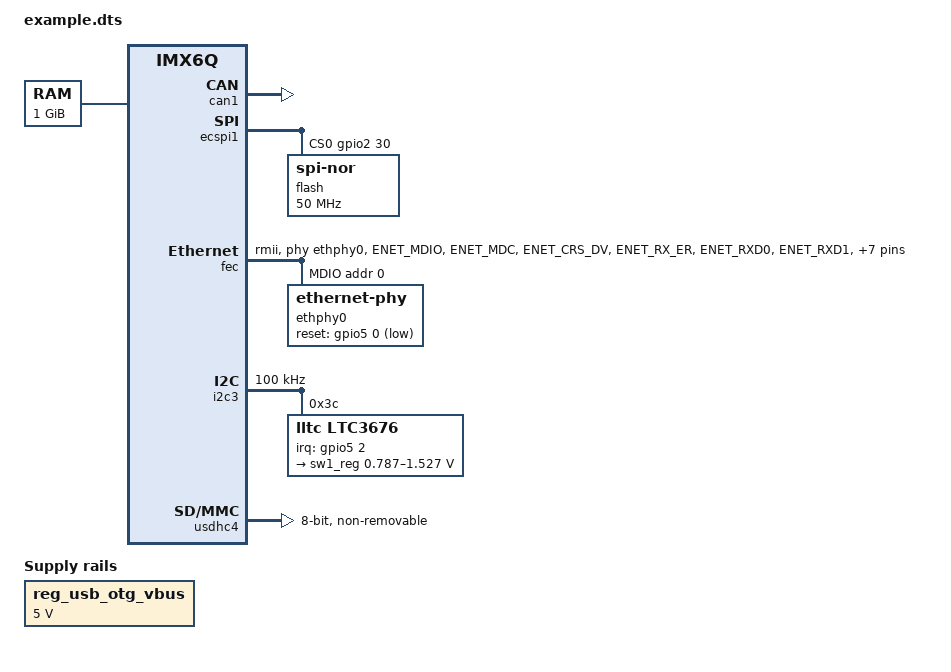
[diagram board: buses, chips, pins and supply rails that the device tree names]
// Devicetree (https://www.devicetree.org/) example file,
// Adapted from: https://github.com/torvalds/linux/blob/575966e080270b7574175da35f7f7dd5ecd89ff4/arch/arm/boot/dts/imx6q-dhcom-som.dtsi

// SPDX-License-Identifier: (GPL-2.0+)
/*
 * Copyright (C) 2015 DH electronics GmbH
 * Copyright (C) 2018 Marek Vasut <marex@denx.de>
 */

/dts-v1/;

#include "imx6q.dtsi"
#include <dt-bindings/pwm/pwm.h>
/include/ "tps65217.dtsi"

/ {
	aliases {
		mmc0 = &usdhc2;
		mmc1 = &usdhc3;
		mmc2 = &usdhc4;
		mmc3 = &usdhc1;
	};

	memory@10000000 {
		device_type = "memory";
		reg = <0x10000000 0x40000000>;
	};

        /delete-property/ uart;

	reg_usb_otg_vbus: regulator-usb-otg-vbus {
		compatible = "regulator-fixed";
		regulator-name = "usb_otg_vbus";
		regulator-min-microvolt = <5000000>;
		regulator-max-microvolt = <5000000>;
	};
};

&can1 {
	pinctrl-names = "default";
	pinctrl-0 = <&pinctrl_flexcan1>;
	status = "okay";
};

&ecspi1 {
	cs-gpios = <&gpio2 30 GPIO_ACTIVE_HIGH>, <&gpio4 11 GPIO_ACTIVE_HIGH>;
	pinctrl-names = "default";
	pinctrl-0 = <&pinctrl_ecspi1>;
	status = "okay";

	flash@0 {	/* S25FL116K */
		#address-cells = <1>;
		#size-cells = <1>;
		compatible = "jedec,spi-nor";
		spi-max-frequency = <50000000>;
		reg = <0>;
		m25p,fast-read;
	};
};

&fec {
	pinctrl-names = "default";
	pinctrl-0 = <&pinctrl_enet_100M>;
	phy-mode = "rmii";
	phy-handle = <&ethphy0>;
	status = "okay";

	mdio {
		#address-cells = <1>;
		#size-cells = <0>;

		ethphy0: ethernet-phy@0 {	/* SMSC LAN8710Ai */
			reg = <0>;
			max-speed = <100>;
			reset-gpios = <&gpio5 0 GPIO_ACTIVE_LOW>;
			reset-delay-us = <1000>;
			reset-post-delay-us = <1000>;
		};
	};
};

&i2c3 {
	clock-frequency = <100000>;
	pinctrl-names = "default";
	pinctrl-0 = <&pinctrl_i2c3>;
	status = "okay";

	ltc3676: pmic@3c {
		compatible = "lltc,ltc3676";
		pinctrl-names = "default";
		pinctrl-0 = <&pinctrl_pmic_hw300>;
		reg = <0x3c>;
		interrupt-parent = <&gpio5>;
		interrupts = <2 IRQ_TYPE_EDGE_FALLING>;

		regulators {
			sw1_reg: sw1 {
				regulator-min-microvolt = <787500>;
				regulator-max-microvolt = <1527272>;
				lltc,fb-voltage-divider = <100000 110000>;
				regulator-suspend-mem-microvolt = <1040000>;
				regulator-ramp-delay = <7000>;
				regulator-boot-on;
				regulator-always-on;
			};

		};
	};

	touchscreen@49 {	/* TSC2004 */
		compatible = "ti,tsc2004";
		reg = <0x49>;
		vio-supply = <&reg_3p3v>;
		pinctrl-names = "default";
		pinctrl-0 = <&pinctrl_tsc2004_hw300>;
		interrupts-extended = <&gpio4 14 IRQ_TYPE_EDGE_FALLING>;
		status = "disabled";
	};

};

&iomuxc {
	pinctrl-names = "default";
	pinctrl-0 = <&pinctrl_hog_base>;

	pinctrl_hog_base: hog-base-grp {
		fsl,pins = <
			MX6QDL_PAD_EIM_A19__GPIO2_IO19		0x120b0
			MX6QDL_PAD_EIM_A23__GPIO6_IO06		0x120b0
			MX6QDL_PAD_EIM_A22__GPIO2_IO16		0x120b0
			MX6QDL_PAD_EIM_A16__GPIO2_IO22		0x120b0
			MX6QDL_PAD_EIM_A17__GPIO2_IO21		0x120b0
		>;
	};

	pinctrl_enet_100M: enet-100M-grp {
		fsl,pins = <
			MX6QDL_PAD_ENET_MDIO__ENET_MDIO		0x1b0b0
			MX6QDL_PAD_ENET_MDC__ENET_MDC		0x1b0b0
			MX6QDL_PAD_ENET_CRS_DV__ENET_RX_EN	0x1b0b0
			MX6QDL_PAD_ENET_RX_ER__ENET_RX_ER	0x1b0b0
			MX6QDL_PAD_ENET_RXD0__ENET_RX_DATA0	0x1b0b0
			MX6QDL_PAD_ENET_RXD1__ENET_RX_DATA1	0x1b0b0
			MX6QDL_PAD_ENET_TX_EN__ENET_TX_EN	0x1b0b0
			MX6QDL_PAD_ENET_TXD0__ENET_TX_DATA0	0x1b0b0
			MX6QDL_PAD_ENET_TXD1__ENET_TX_DATA1	0x1b0b0
			MX6QDL_PAD_GPIO_16__ENET_REF_CLK	0x4001b0a8
			MX6QDL_PAD_EIM_WAIT__GPIO5_IO00		0x000b0
			MX6QDL_PAD_KEY_ROW4__GPIO4_IO15		0x000b1
			MX6QDL_PAD_GPIO_7__GPIO1_IO07		0x120b0
		>;
	};

};

&usdhc4 {
	pinctrl-names = "default";
	pinctrl-0 = <&pinctrl_usdhc4>;
	non-removable;
	bus-width = <8>;
	no-1-8-v;
	keep-power-in-suspend;
	status = "okay";
};
